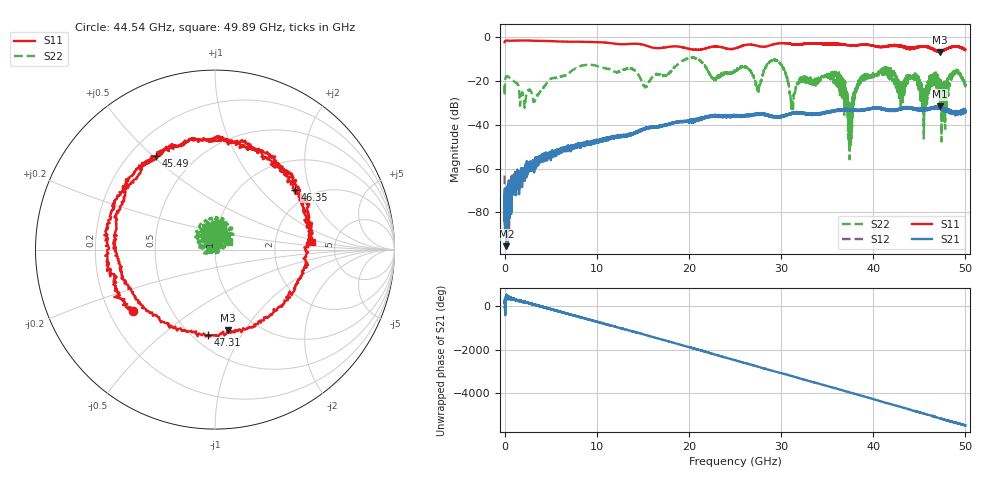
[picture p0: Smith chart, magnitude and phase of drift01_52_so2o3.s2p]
!Created with skrf (http://scikit-rf.org).
# Hz S RI R 50.0
!freq ReS11 ImS11 ReS21 ImS21 ReS12 ImS12 ReS22 ImS22
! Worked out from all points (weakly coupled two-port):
!   10001 points, 300 kHz to 50 GHz, reference 50 ohm
!   highest |S21| = -31.46 dB at 47.21 GHz (marker M1); lowest = -95.5 dB at 200.3 MHz (marker M2)
!   lowest |S11| = -6.9 dB at 47.21 GHz (marker M3), VSWR 2.66, Z = 37.4 - j42.3 ohm
!   |S11| at or under -10 dB: nowhere
!   |S22| runs from -55.8 to -9.2 dB; largest |S21 - S12| = 0.0038
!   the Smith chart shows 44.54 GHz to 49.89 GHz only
!   S11 on the Smith chart (normalised r, x): 44.54 GHz: 0.30, -0.30; 45.49 GHz: 0.30, +0.51; 46.35 GHz: 1.65, +1.61; 47.31 GHz: 0.59, -0.73; 49.89 GHz: 3.30, +0.39
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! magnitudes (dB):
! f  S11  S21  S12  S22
! 300 kHz  -2.1  -72.8  -63.2  -22.1
! 200.3 MHz  -1.4  -95.5  -75.4  -17.7
! 3.29 GHz  -1.5  -58.1  -57.5  -28.9
! 8.335 GHz  -2.0  -49.6  -48.8  -12.9
! 16.67 GHz  -4.9  -40.5  -41.0  -16.6
! 25 GHz  -5.0  -35.9  -36.1  -15.5
! 27.5 GHz  -3.9  -34.8  -34.9  -22.7
! 29.61 GHz  -2.8  -36.3  -36.2  -10.7
! 31.25 GHz  -3.1  -34.6  -34.6  -31.5
! 33.34 GHz  -2.6  -35.5  -35.2  -19.7
! 36.08 GHz  -2.9  -33.1  -33.6  -17.0
! 37.49 GHz  -3.6  -33.3  -33.2  -32.1
! 38.65 GHz  -3.4  -33.5  -33.1  -20.6
! 41.67 GHz  -3.9  -33.3  -33.3  -15.8
! 43 GHz  -4.1  -32.8  -32.7  -29.3
! 44.54 GHz  -4.9  -32.6  -32.5  -16.8
! 45.49 GHz  -4.2  -33.0  -32.7  -39.9
! 46.35 GHz  -5.1  -32.4  -32.3  -21.2
! 47.21 GHz  -6.9  -31.5  -32.0  -27.2
! 47.31 GHz  -6.4  -32.7  -32.3  -19.6
! 49.89 GHz  -5.3  -33.1  -34.2  -21.2
! 50 GHz  -5.6  -34.3  -33.7  -21.6
